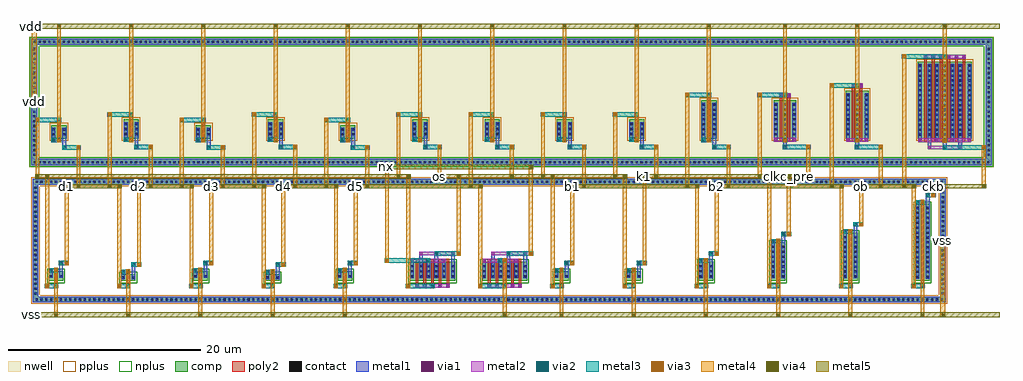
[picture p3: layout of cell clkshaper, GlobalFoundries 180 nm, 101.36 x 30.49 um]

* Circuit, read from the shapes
.subckt clkshaper b1 b2 ckb clk640 clkc_pre d1 d2 d3 d4 d5 k1 nx ob os vdd vss
XM1 d1 clk640 vss vss nfet_03v3 w=1u l=0.28u
XM2 d2 d1 vss vss nfet_03v3 w=0.7u l=0.28u
XM3 d3 d2 vss vss nfet_03v3 w=1u l=0.28u
XM4 d4 d3 vss vss nfet_03v3 w=0.7u l=0.28u
XM5 d5 d4 vss vss nfet_03v3 w=1u l=0.28u
XM6 os clk640 nx vss nfet_03v3 w=2u l=0.28u m=5
XM7 nx d5 vss vss nfet_03v3 w=2u l=0.28u m=5
XM8 b1 os vss vss nfet_03v3 w=1u l=0.28u
XM9 k1 os vss vss nfet_03v3 w=1u l=0.28u
XM10 b2 b1 vss vss nfet_03v3 w=2u l=0.28u
XM11 clkc_pre k1 vss vss nfet_03v3 w=4u l=0.28u
XM12 ob b2 vss vss nfet_03v3 w=5u l=0.28u
XM13 ckb ob vss vss nfet_03v3 w=8u l=0.28u
XM14 d1 clk640 vdd vdd pfet_03v3 w=1.4u l=0.28u
XM15 d2 d1 vdd vdd pfet_03v3 w=2u l=0.28u
XM16 d3 d2 vdd vdd pfet_03v3 w=1.4u l=0.28u
XM17 d4 d3 vdd vdd pfet_03v3 w=2u l=0.28u
XM18 d5 d4 vdd vdd pfet_03v3 w=1.4u l=0.28u
XM19 os clk640 vdd vdd pfet_03v3 w=2u l=0.28u
XM20 os d5 vdd vdd pfet_03v3 w=2u l=0.28u
XM21 b1 os vdd vdd pfet_03v3 w=2u l=0.28u
XM22 k1 os vdd vdd pfet_03v3 w=2u l=0.28u
XM23 b2 b1 vdd vdd pfet_03v3 w=4u l=0.28u
XM24 clkc_pre k1 vdd vdd pfet_03v3 w=4u l=0.28u m=2
XM25 ob b2 vdd vdd pfet_03v3 w=5u l=0.28u m=2
XM26 ckb ob vdd vdd pfet_03v3 w=8u l=0.28u m=6
.ends

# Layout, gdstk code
import gdstk
lib = gdstk.Library(unit=1e-6, precision=1e-09)
def R(c, l, rs):  # rectangles x0, y0, x1, y1
    for r in rs: c.add(gdstk.rectangle(r[:2], r[2:], *l))
def A(c, l, x, y, w, h, nx, ny, dx, dy):  # array of equal rectangles
    R(c, l, [(x+i*dx, y+j*dy, x+i*dx+w, y+j*dy+h) for i in range(nx) for j in range(ny)])
nwell = (21, 0)
comp = (22, 0)
poly2 = (30, 0)
pplus = (31, 0)
nplus = (32, 0)
contact = (33, 0)
metal1 = (34, 0)
via1 = (35, 0)
metal2 = (36, 0)
via2 = (38, 0)
via3 = (40, 0)
via4 = (41, 0)
metal3 = (42, 0)
metal4 = (46, 0)
metal5 = (81, 0)

clkshaper = lib.new_cell('clkshaper')
A(clkshaper, nwell, 2, 18.5, 2.46, 2.28, 3, 1, 15, 0)
A(clkshaper, nwell, 9.5, 18.5, 2.46, 2.88, 3, 1, 15, 0)
A(clkshaper, nwell, 47, 18.5, 2.46, 2.88, 3, 1, 7.5, 0)
R(clkshaper, nwell, [(0.15,15.98,100.31,29.53), (69.5,18.5,71.96,23.38), (77,18.5,80.26,23.38), (84.5,18.5,87.76,24.38), (92,18.5,98.46,27.38)])
A(clkshaper, comp, 2.59, 4.17, 0.66, 1, 3, 1, 15, 0)
A(clkshaper, comp, 2.9, 18.94, 0.66, 1.4, 3, 1, 15, 0)
A(clkshaper, comp, 10.4, 18.94, 0.66, 2, 3, 1, 15, 0)
A(clkshaper, comp, 47.9, 18.94, 0.66, 2, 3, 1, 7.5, 0)
R(clkshaper, comp, [(0.5,1.94,95.34,2.54), (0.5,2.54,1.1,14.18), (94.74,2.54,95.34,14.18), (2.17,4.17,2.59,5.17), (3.25,4.17,3.67,5.17), (9.67,4.17,10.09,4.87), (10.09,4.17,10.75,4.87), (10.75,4.17,11.17,4.87), (17.17,4.17,17.59,5.17), (18.25,4.17,18.67,5.17), (24.67,4.17,25.09,4.87), (25.09,4.17,25.75,4.87), (25.75,4.17,26.17,4.87), (32.17,4.17,32.59,5.17), (33.25,4.17,33.67,5.17), (39.67,4.17,40.09,6.17), (40.09,4.17,43.95,6.17), (43.95,4.17,44.37,6.17), (47.17,4.17,47.59,6.17), (47.59,4.17,51.45,6.17), (51.45,4.17,51.87,6.17), (54.67,4.17,55.09,5.17), (55.09,4.17,55.75,5.17), (55.75,4.17,56.17,5.17), (62.17,4.17,62.59,5.17), (62.59,4.17,63.25,5.17), (63.25,4.17,63.67,5.17), (69.67,4.17,70.09,6.17), (70.09,4.17,70.75,6.17), (70.75,4.17,71.17,6.17), (77.17,4.17,77.59,8.17), (77.59,4.17,78.25,8.17), (78.25,4.17,78.67,8.17), (84.67,4.17,85.09,9.17), (85.09,4.17,85.75,9.17), (85.75,4.17,86.17,9.17), (92.17,4.17,92.59,12.17), (92.59,4.17,93.25,12.17), (93.25,4.17,93.67,12.17), (0.5,14.18,95.34,14.78), (0.35,16.18,100.11,16.83), (0.35,16.83,1,28.68), (99.46,16.83,100.11,28.68), (2.44,18.94,2.9,20.34), (3.56,18.94,4.02,20.34), (9.94,18.94,10.4,20.94), (11.06,18.94,11.52,20.94), (17.44,18.94,17.9,20.34), (18.56,18.94,19.02,20.34), (24.94,18.94,25.4,20.94), (26.06,18.94,26.52,20.94), (32.44,18.94,32.9,20.34), (33.56,18.94,34.02,20.34), (39.94,18.94,40.4,20.94), (41.06,18.94,41.52,20.94), (47.44,18.94,47.9,20.94), (48.56,18.94,49.02,20.94), (54.94,18.94,55.4,20.94), (56.06,18.94,56.52,20.94), (62.44,18.94,62.9,20.94), (63.56,18.94,64.02,20.94), (69.94,18.94,70.4,22.94), (70.4,18.94,71.06,22.94), (71.06,18.94,71.52,22.94), (77.44,18.94,77.9,22.94), (77.9,18.94,79.36,22.94), (79.36,18.94,79.82,22.94), (84.94,18.94,85.4,23.94), (85.4,18.94,86.86,23.94), (86.86,18.94,87.32,23.94), (92.44,18.94,92.9,26.94), (92.9,18.94,97.56,26.94), (97.56,18.94,98.02,26.94), (0.35,28.68,100.11,29.33)])
A(clkshaper, poly2, 2.74, 3.51, 0.36, 0.36, 6, 1, 7.5, 0)
A(clkshaper, poly2, 41.04, 3.51, 0.36, 0.36, 4, 1, 0.8, 0)
A(clkshaper, poly2, 47.74, 3.51, 0.36, 0.36, 5, 1, 0.8, 0)
A(clkshaper, poly2, 55.24, 3.51, 0.36, 0.36, 6, 1, 7.5, 0)
A(clkshaper, poly2, 2.78, 3.87, 0.28, 1.6, 3, 1, 15, 0)
A(clkshaper, poly2, 40.28, 3.87, 0.28, 2.6, 5, 1, 0.8, 0)
A(clkshaper, poly2, 47.78, 3.87, 0.28, 2.6, 5, 1, 0.8, 0)
A(clkshaper, poly2, 3.09, 18.64, 0.28, 2, 3, 1, 15, 0)
A(clkshaper, poly2, 10.59, 18.64, 0.28, 2.6, 3, 1, 15, 0)
A(clkshaper, poly2, 48.09, 18.64, 0.28, 2.6, 3, 1, 7.5, 0)
A(clkshaper, poly2, 93.09, 18.64, 0.28, 8.6, 6, 1, 0.8, 0)
A(clkshaper, poly2, 3.04, 20.64, 0.38, 0.38, 3, 1, 15, 0)
A(clkshaper, poly2, 10.54, 21.24, 0.38, 0.38, 3, 1, 15, 0)
A(clkshaper, poly2, 48.04, 21.24, 0.38, 0.38, 3, 1, 7.5, 0)
A(clkshaper, poly2, 93.04, 27.24, 0.38, 0.38, 6, 1, 0.8, 0)
R(clkshaper, poly2, [(10.28,3.87,10.56,5.17), (25.28,3.87,25.56,5.17), (55.28,3.87,55.56,5.47), (62.78,3.87,63.06,5.47), (70.28,3.87,70.56,6.47), (77.78,3.87,78.06,8.47), (85.28,3.87,85.56,9.47), (92.78,3.87,93.06,12.47), (70.59,18.64,70.87,23.24), (78.09,18.64,78.37,23.24), (78.89,18.64,79.17,23.24), (85.59,18.64,85.87,24.24), (86.39,18.64,86.67,24.24), (70.54,23.24,70.92,23.62), (78.04,23.24,78.42,23.62), (78.84,23.24,79.22,23.62), (85.54,24.24,85.92,24.62), (86.34,24.24,86.72,24.62)])
A(clkshaper, pplus, 2.27, 18.7, 1.92, 1.88, 3, 1, 15, 0)
A(clkshaper, pplus, 9.77, 18.7, 1.92, 2.48, 3, 1, 15, 0)
A(clkshaper, pplus, 47.27, 18.7, 1.92, 2.48, 3, 1, 7.5, 0)
R(clkshaper, pplus, [(0.34,1.78,95.5,2.7), (0.34,2.38,1.26,14.34), (94.58,2.38,95.5,14.34), (0.34,14.02,95.5,14.94), (69.77,18.7,71.69,23.18), (77.27,18.7,79.99,23.18), (84.77,18.7,87.49,24.18), (92.27,18.7,98.19,27.18)])
A(clkshaper, nplus, 2, 3.93, 1.84, 1.48, 3, 1, 15, 0)
R(clkshaper, nplus, [(9.5,3.93,11.34,5.11), (24.5,3.93,26.34,5.11), (39.5,3.93,44.54,6.41), (47,3.93,52.04,6.41), (54.5,3.93,56.34,5.41), (62,3.93,63.84,5.41), (69.5,3.93,71.34,6.41), (77,3.93,78.84,8.41), (84.5,3.93,86.34,9.41), (92,3.93,93.84,12.41), (0.19,16.02,100.27,16.99), (0.19,16.67,1.16,28.84), (99.3,16.67,100.27,28.84), (0.19,28.52,100.27,29.49)])
A(clkshaper, contact, 0.81, 2.13, 0.22, 0.22, 189, 2, 0.5, 12.24)
A(clkshaper, contact, 0.69, 2.75, 0.22, 0.22, 1, 23, 0, 0.5)
A(clkshaper, contact, 94.93, 2.75, 0.22, 0.22, 1, 23, 0, 0.5)
A(clkshaper, contact, 2.81, 3.58, 0.22, 0.22, 6, 1, 7.5, 0)
A(clkshaper, contact, 41.11, 3.58, 0.22, 0.22, 4, 1, 0.8, 0)
A(clkshaper, contact, 47.81, 3.58, 0.22, 0.22, 5, 1, 0.8, 0)
A(clkshaper, contact, 55.31, 3.58, 0.22, 0.22, 6, 1, 7.5, 0)
A(clkshaper, contact, 92.27, 4.49, 0.22, 0.22, 1, 15, 0, 0.51)
A(clkshaper, contact, 93.35, 4.49, 0.22, 0.22, 1, 15, 0, 0.51)
A(clkshaper, contact, 84.77, 4.52, 0.22, 0.22, 1, 9, 0, 0.51)
A(clkshaper, contact, 85.85, 4.52, 0.22, 0.22, 1, 9, 0, 0.51)
A(clkshaper, contact, 77.27, 4.53, 0.22, 0.22, 1, 7, 0, 0.51)
A(clkshaper, contact, 78.35, 4.53, 0.22, 0.22, 1, 7, 0, 0.51)
A(clkshaper, contact, 39.77, 4.55, 0.22, 0.22, 1, 3, 0, 0.51)
A(clkshaper, contact, 40.71, 4.55, 0.22, 0.22, 4, 3, 0.8, 0.51)
A(clkshaper, contact, 44.05, 4.55, 0.22, 0.22, 1, 3, 0, 0.51)
A(clkshaper, contact, 47.27, 4.55, 0.22, 0.22, 1, 3, 0, 0.51)
A(clkshaper, contact, 48.21, 4.55, 0.22, 0.22, 4, 3, 0.8, 0.51)
A(clkshaper, contact, 51.55, 4.55, 0.22, 0.22, 1, 3, 0, 0.51)
A(clkshaper, contact, 69.77, 4.55, 0.22, 0.22, 1, 3, 0, 0.51)
A(clkshaper, contact, 70.85, 4.55, 0.22, 0.22, 1, 3, 0, 0.51)
A(clkshaper, contact, 0.62, 16.395, 0.22, 0.22, 199, 2, 0.5, 12.5)
A(clkshaper, contact, 0.565, 17.145, 0.22, 0.22, 1, 23, 0, 0.5)
A(clkshaper, contact, 99.675, 17.145, 0.22, 0.22, 1, 23, 0, 0.5)
A(clkshaper, contact, 92.56, 19.26, 0.22, 0.22, 1, 15, 0, 0.51)
A(clkshaper, contact, 93.52, 19.26, 0.22, 0.22, 5, 15, 0.8, 0.51)
A(clkshaper, contact, 97.68, 19.26, 0.22, 0.22, 1, 15, 0, 0.51)
A(clkshaper, contact, 85.06, 19.29, 0.22, 0.22, 3, 9, 0.96, 0.51)
A(clkshaper, contact, 70.06, 19.3, 0.22, 0.22, 1, 7, 0, 0.51)
A(clkshaper, contact, 71.18, 19.3, 0.22, 0.22, 1, 7, 0, 0.51)
A(clkshaper, contact, 77.56, 19.3, 0.22, 0.22, 3, 7, 0.96, 0.51)
A(clkshaper, contact, 10.06, 19.32, 0.22, 0.22, 1, 3, 0, 0.51)
A(clkshaper, contact, 11.18, 19.32, 0.22, 0.22, 1, 3, 0, 0.51)
A(clkshaper, contact, 25.06, 19.32, 0.22, 0.22, 1, 3, 0, 0.51)
A(clkshaper, contact, 26.18, 19.32, 0.22, 0.22, 1, 3, 0, 0.51)
A(clkshaper, contact, 40.06, 19.32, 0.22, 0.22, 1, 3, 0, 0.51)
A(clkshaper, contact, 41.18, 19.32, 0.22, 0.22, 1, 3, 0, 0.51)
A(clkshaper, contact, 47.56, 19.32, 0.22, 0.22, 1, 3, 0, 0.51)
A(clkshaper, contact, 48.68, 19.32, 0.22, 0.22, 1, 3, 0, 0.51)
A(clkshaper, contact, 55.06, 19.32, 0.22, 0.22, 1, 3, 0, 0.51)
A(clkshaper, contact, 56.18, 19.32, 0.22, 0.22, 1, 3, 0, 0.51)
A(clkshaper, contact, 62.56, 19.32, 0.22, 0.22, 1, 3, 0, 0.51)
A(clkshaper, contact, 63.68, 19.32, 0.22, 0.22, 1, 3, 0, 0.51)
A(clkshaper, contact, 3.12, 20.72, 0.22, 0.22, 3, 1, 15, 0)
A(clkshaper, contact, 10.62, 21.32, 0.22, 0.22, 3, 1, 15, 0)
A(clkshaper, contact, 48.12, 21.32, 0.22, 0.22, 3, 1, 7.5, 0)
A(clkshaper, contact, 93.12, 27.32, 0.22, 0.22, 6, 1, 0.8, 0)
R(clkshaper, contact, [(9.77,4.41,9.99,4.63), (10.85,4.41,11.07,4.63), (24.77,4.41,24.99,4.63), (25.85,4.41,26.07,4.63), (2.27,4.56,2.49,4.78), (3.35,4.56,3.57,4.78), (17.27,4.56,17.49,4.78), (18.35,4.56,18.57,4.78), (32.27,4.56,32.49,4.78), (33.35,4.56,33.57,4.78), (54.77,4.56,54.99,4.78), (55.85,4.56,56.07,4.78), (62.27,4.56,62.49,4.78), (63.35,4.56,63.57,4.78), (2.56,19.275,2.78,19.495), (3.68,19.275,3.9,19.495), (17.56,19.275,17.78,19.495), (18.68,19.275,18.9,19.495), (32.56,19.275,32.78,19.495), (33.68,19.275,33.9,19.495), (2.56,19.785,2.78,20.005), (3.68,19.785,3.9,20.005), (17.56,19.785,17.78,20.005), (18.68,19.785,18.9,20.005), (32.56,19.785,32.78,20.005), (33.68,19.785,33.9,20.005), (70.62,23.32,70.84,23.54), (78.12,23.32,78.34,23.54), (78.92,23.32,79.14,23.54), (85.62,24.32,85.84,24.54), (86.42,24.32,86.64,24.54)])
A(clkshaper, metal1, 2.73, 3.5, 0.38, 0.38, 6, 1, 7.5, 0)
A(clkshaper, metal1, 41.03, 3.5, 0.38, 0.38, 4, 1, 0.8, 0)
A(clkshaper, metal1, 47.73, 3.5, 0.38, 0.38, 5, 1, 0.8, 0)
A(clkshaper, metal1, 55.23, 3.5, 0.38, 0.38, 6, 1, 7.5, 0)
A(clkshaper, metal1, 40.63, 4.47, 0.38, 1.4, 4, 1, 0.8, 0)
A(clkshaper, metal1, 48.13, 4.47, 0.38, 1.4, 4, 1, 0.8, 0)
A(clkshaper, metal1, 2.19, 4.81, 0.38, 0.65, 3, 1, 15, 0)
A(clkshaper, metal1, 3.27, 4.81, 0.38, 1.4, 3, 1, 15, 0)
A(clkshaper, metal1, 93.44, 17.83, 0.38, 1.4, 3, 1, 1.6, 0)
A(clkshaper, metal1, 3.6, 17.845, 0.38, 1.4, 3, 1, 15, 0)
A(clkshaper, metal1, 11.1, 17.89, 0.38, 1.4, 3, 1, 15, 0)
A(clkshaper, metal1, 48.6, 17.89, 0.38, 1.4, 3, 1, 7.5, 0)
A(clkshaper, metal1, 2.48, 18.595, 0.38, 0.65, 3, 1, 15, 0)
A(clkshaper, metal1, 9.98, 18.64, 0.38, 0.65, 3, 1, 15, 0)
A(clkshaper, metal1, 47.48, 18.64, 0.38, 0.65, 3, 1, 7.5, 0)
A(clkshaper, metal1, 93.44, 19.18, 0.38, 7.52, 5, 1, 0.8, 0)
A(clkshaper, metal1, 84.98, 19.21, 0.38, 4.46, 3, 1, 0.96, 0)
A(clkshaper, metal1, 77.48, 19.22, 0.38, 3.44, 3, 1, 0.96, 0)
A(clkshaper, metal1, 3.04, 20.64, 0.38, 0.38, 3, 1, 15, 0)
A(clkshaper, metal1, 10.54, 21.24, 0.38, 0.38, 3, 1, 15, 0)
A(clkshaper, metal1, 48.04, 21.24, 0.38, 0.38, 3, 1, 7.5, 0)
A(clkshaper, metal1, 93.04, 27.24, 0.38, 0.38, 6, 1, 0.8, 0)
R(clkshaper, metal1, [(0.5,1.94,95.34,2.54), (0.5,2.54,1.1,14.18), (94.74,2.54,95.34,14.18), (9.69,4.33,10.07,4.71), (10.77,4.33,11.15,4.71), (24.69,4.33,25.07,4.71), (25.77,4.33,26.15,4.71), (92.19,4.41,92.57,11.93), (93.27,4.41,93.65,11.93), (84.69,4.44,85.07,8.9), (85.77,4.44,86.15,8.9), (77.19,4.45,77.57,7.89), (78.27,4.45,78.65,7.89), (39.69,4.47,40.07,5.87), (43.97,4.47,44.35,5.87), (47.19,4.47,47.57,5.87), (51.47,4.47,51.85,5.87), (69.69,4.47,70.07,5.87), (70.77,4.47,71.15,5.87), (2.19,4.48,2.57,4.86), (3.27,4.48,3.65,4.86), (17.19,4.48,17.57,4.86), (18.27,4.48,18.65,4.86), (32.19,4.48,32.57,4.86), (33.27,4.48,33.65,4.86), (54.69,4.48,55.07,4.86), (55.77,4.48,56.15,4.86), (62.19,4.48,62.57,4.86), (63.27,4.48,63.65,4.86), (9.69,4.66,10.07,5.31), (10.77,4.66,11.15,6.06), (24.69,4.66,25.07,5.31), (25.77,4.66,26.15,6.06), (54.69,4.81,55.07,5.46), (55.77,4.81,56.15,6.21), (62.19,4.81,62.57,5.46), (63.27,4.81,63.65,6.21), (39.69,5.82,40.07,6.47), (40.63,5.82,41.01,7.22), (41.43,5.82,41.81,6.47), (42.23,5.82,42.61,7.22), (43.03,5.82,43.41,6.47), (43.97,5.82,44.35,7.22), (47.19,5.82,47.57,6.47), (48.13,5.82,48.51,7.22), (48.93,5.82,49.31,6.47), (49.73,5.82,50.11,7.22), (50.53,5.82,50.91,6.47), (51.47,5.82,51.85,7.22), (69.69,5.82,70.07,6.47), (70.77,5.82,71.15,7.22), (77.19,7.84,77.57,8.49), (78.27,7.84,78.65,9.24), (94.77,8.11,95.27,8.61), (94.77,8.11,95.27,8.61), (84.69,8.85,85.07,9.5), (85.77,8.85,86.15,10.25), (92.19,11.88,92.57,12.53), (93.27,11.88,93.65,13.28), (0.5,14.18,95.34,14.78), (0.35,16.18,100.11,16.83), (0.35,16.83,1,28.68), (99.46,16.83,100.11,28.68), (85.94,17.86,86.32,19.26), (71.1,17.87,71.48,19.27), (78.44,17.87,78.82,19.27), (92.48,18.58,92.86,19.23), (94.24,18.58,94.62,19.23), (95.84,18.58,96.22,19.23), (97.6,18.58,97.98,19.23), (84.98,18.61,85.36,19.26), (86.9,18.61,87.28,19.26), (69.98,18.62,70.36,19.27), (77.48,18.62,77.86,19.27), (79.4,18.62,79.78,19.27), (92.48,19.18,92.86,26.7), (97.6,19.18,97.98,26.7), (2.48,19.195,2.86,20.085), (3.6,19.195,3.98,20.085), (17.48,19.195,17.86,20.085), (18.6,19.195,18.98,20.085), (32.48,19.195,32.86,20.085), (33.6,19.195,33.98,20.085), (69.98,19.22,70.36,22.66), (71.1,19.22,71.48,22.66), (9.98,19.24,10.36,20.64), (11.1,19.24,11.48,20.64), (24.98,19.24,25.36,20.64), (26.1,19.24,26.48,20.64), (39.98,19.24,40.36,20.64), (41.1,19.24,41.48,20.64), (47.48,19.24,47.86,20.64), (48.6,19.24,48.98,20.64), (54.98,19.24,55.36,20.64), (56.1,19.24,56.48,20.64), (62.48,19.24,62.86,20.64), (63.6,19.24,63.98,20.64), (0.42,22.505,0.92,23.005), (0.42,22.505,0.92,23.005), (70.54,23.24,70.92,23.62), (78.04,23.24,78.42,23.62), (78.84,23.24,79.22,23.62), (85.54,24.24,85.92,24.62), (86.34,24.24,86.72,24.62), (0.35,28.68,100.11,29.33)])
A(clkshaper, via1, 2.79, 3.56, 0.26, 0.26, 6, 1, 7.5, 0)
A(clkshaper, via1, 41.09, 3.56, 0.26, 0.26, 4, 1, 0.8, 0)
A(clkshaper, via1, 47.79, 3.56, 0.26, 0.26, 5, 1, 0.8, 0)
A(clkshaper, via1, 55.29, 3.56, 0.26, 0.26, 6, 1, 7.5, 0)
A(clkshaper, via1, 2.25, 5.13, 0.26, 0.26, 3, 1, 15, 0)
A(clkshaper, via1, 3.33, 5.88, 0.26, 0.26, 3, 1, 15, 0)
A(clkshaper, via1, 93.5, 17.9, 0.26, 0.26, 3, 1, 1.6, 0)
A(clkshaper, via1, 3.66, 17.915, 0.26, 0.26, 3, 1, 15, 0)
A(clkshaper, via1, 11.16, 17.96, 0.26, 0.26, 3, 1, 15, 0)
A(clkshaper, via1, 48.66, 17.96, 0.26, 0.26, 3, 1, 7.5, 0)
A(clkshaper, via1, 2.54, 18.665, 0.26, 0.26, 3, 1, 15, 0)
A(clkshaper, via1, 10.04, 18.71, 0.26, 0.26, 3, 1, 15, 0)
A(clkshaper, via1, 47.54, 18.71, 0.26, 0.26, 3, 1, 7.5, 0)
A(clkshaper, via1, 3.1, 20.7, 0.26, 0.26, 3, 1, 15, 0)
A(clkshaper, via1, 10.6, 21.3, 0.26, 0.26, 3, 1, 15, 0)
A(clkshaper, via1, 48.1, 21.3, 0.26, 0.26, 3, 1, 7.5, 0)
A(clkshaper, via1, 93.1, 27.3, 0.26, 0.26, 6, 1, 0.8, 0)
R(clkshaper, via1, [(9.75,4.98,10.01,5.24), (24.75,4.98,25.01,5.24), (54.75,5.13,55.01,5.39), (62.25,5.13,62.51,5.39), (10.83,5.73,11.09,5.99), (25.83,5.73,26.09,5.99), (55.83,5.88,56.09,6.14), (63.33,5.88,63.59,6.14), (39.75,6.14,40.01,6.4), (41.49,6.14,41.75,6.4), (43.09,6.14,43.35,6.4), (47.25,6.14,47.51,6.4), (48.99,6.14,49.25,6.4), (50.59,6.14,50.85,6.4), (69.75,6.14,70.01,6.4), (40.69,6.89,40.95,7.15), (42.29,6.89,42.55,7.15), (44.03,6.89,44.29,7.15), (48.19,6.89,48.45,7.15), (49.79,6.89,50.05,7.15), (51.53,6.89,51.79,7.15), (70.83,6.89,71.09,7.15), (77.25,8.16,77.51,8.42), (94.89,8.23,95.15,8.49), (78.33,8.91,78.59,9.17), (84.75,9.17,85.01,9.43), (85.83,9.92,86.09,10.18), (92.25,12.2,92.51,12.46), (93.33,12.95,93.59,13.21), (86,17.93,86.26,18.19), (71.16,17.94,71.42,18.2), (78.5,17.94,78.76,18.2), (92.54,18.65,92.8,18.91), (94.3,18.65,94.56,18.91), (95.9,18.65,96.16,18.91), (97.66,18.65,97.92,18.91), (85.04,18.68,85.3,18.94), (86.96,18.68,87.22,18.94), (70.04,18.69,70.3,18.95), (77.54,18.69,77.8,18.95), (79.46,18.69,79.72,18.95), (0.54,22.625,0.8,22.885), (70.6,23.3,70.86,23.56), (78.1,23.3,78.36,23.56), (78.9,23.3,79.16,23.56), (85.6,24.3,85.86,24.56), (86.4,24.3,86.66,24.56)])
A(clkshaper, metal2, 2.69, 3.43, 0.46, 0.46, 5, 1, 7.5, 0)
A(clkshaper, metal2, 55.19, 3.43, 0.46, 0.46, 6, 1, 7.5, 0)
A(clkshaper, metal2, 2.73, 3.44, 0.38, 0.44, 5, 1, 7.5, 0)
A(clkshaper, metal2, 55.23, 3.44, 0.38, 0.44, 6, 1, 7.5, 0)
A(clkshaper, metal2, 2.15, 5.03, 0.46, 0.46, 3, 1, 15, 0)
A(clkshaper, metal2, 2.19, 5.06, 0.38, 0.4, 3, 1, 15, 0)
A(clkshaper, metal2, 3.23, 5.78, 0.46, 0.46, 3, 1, 15, 0)
A(clkshaper, metal2, 3.27, 5.81, 0.38, 0.4, 3, 1, 15, 0)
A(clkshaper, metal2, 3.56, 17.815, 0.46, 0.46, 3, 1, 15, 0)
A(clkshaper, metal2, 3.6, 17.845, 0.38, 0.4, 3, 1, 15, 0)
A(clkshaper, metal2, 11.06, 17.86, 0.46, 0.46, 3, 1, 15, 0)
A(clkshaper, metal2, 48.56, 17.86, 0.46, 0.46, 3, 1, 7.5, 0)
A(clkshaper, metal2, 11.1, 17.89, 0.38, 0.4, 3, 1, 15, 0)
A(clkshaper, metal2, 48.6, 17.89, 0.38, 0.4, 3, 1, 7.5, 0)
A(clkshaper, metal2, 2.44, 18.565, 0.46, 0.46, 3, 1, 15, 0)
A(clkshaper, metal2, 2.48, 18.595, 0.38, 0.4, 3, 1, 15, 0)
A(clkshaper, metal2, 9.94, 18.61, 0.46, 0.46, 3, 1, 15, 0)
A(clkshaper, metal2, 47.44, 18.61, 0.46, 0.46, 3, 1, 7.5, 0)
A(clkshaper, metal2, 9.98, 18.64, 0.38, 0.4, 3, 1, 15, 0)
A(clkshaper, metal2, 47.48, 18.64, 0.38, 0.4, 3, 1, 7.5, 0)
A(clkshaper, metal2, 3, 20.63, 0.46, 0.46, 3, 1, 15, 0)
A(clkshaper, metal2, 3.04, 20.64, 0.38, 0.44, 3, 1, 15, 0)
A(clkshaper, metal2, 10.5, 21.23, 0.46, 0.46, 3, 1, 15, 0)
A(clkshaper, metal2, 48, 21.23, 0.46, 0.46, 3, 1, 7.5, 0)
A(clkshaper, metal2, 10.54, 21.24, 0.38, 0.44, 3, 1, 15, 0)
A(clkshaper, metal2, 48.04, 21.24, 0.38, 0.44, 3, 1, 7.5, 0)
R(clkshaper, metal2, [(41.79,3.43,42.25,3.89), (49.29,3.43,49.75,3.89), (40.23,3.44,43.81,3.88), (47.73,3.44,51.31,3.88), (9.65,4.88,10.11,5.34), (24.65,4.88,25.11,5.34), (9.69,4.91,10.07,5.31), (24.69,4.91,25.07,5.31), (54.65,5.03,55.11,5.49), (62.15,5.03,62.61,5.49), (54.69,5.06,55.07,5.46), (62.19,5.06,62.57,5.46), (10.73,5.63,11.19,6.09), (25.73,5.63,26.19,6.09), (10.77,5.66,11.15,6.06), (25.77,5.66,26.15,6.06), (55.73,5.78,56.19,6.24), (63.23,5.78,63.69,6.24), (55.77,5.81,56.15,6.21), (63.27,5.81,63.65,6.21), (41.32,6.04,41.78,6.5), (48.82,6.04,49.28,6.5), (69.65,6.04,70.11,6.5), (39.69,6.07,43.41,6.47), (47.19,6.07,50.91,6.47), (69.69,6.07,70.07,6.47), (42.26,6.79,42.72,7.25), (49.76,6.79,50.22,7.25), (70.73,6.79,71.19,7.25), (40.63,6.82,44.35,7.22), (48.13,6.82,51.85,7.22), (70.77,6.82,71.15,7.22), (77.15,8.06,77.61,8.52), (77.19,8.09,77.57,8.49), (94.77,8.11,95.27,8.61), (78.23,8.81,78.69,9.27), (78.27,8.84,78.65,9.24), (84.65,9.07,85.11,9.53), (84.69,9.1,85.07,9.5), (85.73,9.82,86.19,10.28), (85.77,9.85,86.15,10.25), (92.15,12.1,92.61,12.56), (92.19,12.13,92.57,12.53), (93.23,12.85,93.69,13.31), (93.27,12.88,93.65,13.28), (95,17.8,95.46,18.26), (85.9,17.83,86.36,18.29), (93.44,17.83,97.02,18.23), (71.06,17.84,71.52,18.3), (78.4,17.84,78.86,18.3), (85.94,17.86,86.32,18.26), (71.1,17.87,71.48,18.27), (78.44,17.87,78.82,18.27), (95,18.55,95.46,19.01), (85.9,18.58,86.36,19.04), (92.48,18.58,97.98,18.98), (69.94,18.59,70.4,19.05), (78.4,18.59,78.86,19.05), (84.98,18.61,87.28,19.01), (69.98,18.62,70.36,19.02), (77.48,18.62,79.78,19.02), (0.42,22.505,0.92,23.005), (70.5,23.23,70.96,23.69), (78.4,23.23,78.86,23.69), (70.54,23.24,70.92,23.68), (78.04,23.24,79.22,23.68), (85.9,24.23,86.36,24.69), (85.54,24.24,86.72,24.68), (95,27.23,95.46,27.69), (93.04,27.24,97.42,27.68)])
A(clkshaper, via2, 2.79, 3.53, 0.26, 0.26, 5, 1, 7.5, 0)
A(clkshaper, via2, 55.29, 3.53, 0.26, 0.26, 6, 1, 7.5, 0)
A(clkshaper, via2, 2.25, 5.13, 0.26, 0.26, 3, 1, 15, 0)
A(clkshaper, via2, 3.33, 5.88, 0.26, 0.26, 3, 1, 15, 0)
A(clkshaper, via2, 3.66, 17.915, 0.26, 0.26, 3, 1, 15, 0)
A(clkshaper, via2, 11.16, 17.96, 0.26, 0.26, 3, 1, 15, 0)
A(clkshaper, via2, 48.66, 17.96, 0.26, 0.26, 3, 1, 7.5, 0)
A(clkshaper, via2, 2.54, 18.665, 0.26, 0.26, 3, 1, 15, 0)
A(clkshaper, via2, 10.04, 18.71, 0.26, 0.26, 3, 1, 15, 0)
A(clkshaper, via2, 47.54, 18.71, 0.26, 0.26, 3, 1, 7.5, 0)
A(clkshaper, via2, 3.1, 20.73, 0.26, 0.26, 3, 1, 15, 0)
A(clkshaper, via2, 10.6, 21.33, 0.26, 0.26, 3, 1, 15, 0)
A(clkshaper, via2, 48.1, 21.33, 0.26, 0.26, 3, 1, 7.5, 0)
R(clkshaper, via2, [(41.89,3.53,42.15,3.79), (49.39,3.53,49.65,3.79), (9.75,4.98,10.01,5.24), (24.75,4.98,25.01,5.24), (54.75,5.13,55.01,5.39), (62.25,5.13,62.51,5.39), (10.83,5.73,11.09,5.99), (25.83,5.73,26.09,5.99), (55.83,5.88,56.09,6.14), (63.33,5.88,63.59,6.14), (41.42,6.14,41.68,6.4), (48.92,6.14,49.18,6.4), (69.75,6.14,70.01,6.4), (42.36,6.89,42.62,7.15), (49.86,6.89,50.12,7.15), (70.83,6.89,71.09,7.15), (77.25,8.16,77.51,8.42), (94.89,8.23,95.15,8.49), (78.33,8.91,78.59,9.17), (84.75,9.17,85.01,9.43), (85.83,9.92,86.09,10.18), (92.25,12.2,92.51,12.46), (93.33,12.95,93.59,13.21), (95.1,17.9,95.36,18.16), (86,17.93,86.26,18.19), (71.16,17.94,71.42,18.2), (78.5,17.94,78.76,18.2), (95.1,18.65,95.36,18.91), (86,18.68,86.26,18.94), (70.04,18.69,70.3,18.95), (78.5,18.69,78.76,18.95), (0.54,22.625,0.8,22.885), (70.6,23.33,70.86,23.59), (78.5,23.33,78.76,23.59), (86,24.33,86.26,24.59), (95.1,27.33,95.36,27.59)])
A(clkshaper, via3, 1.87, 3.53, 0.26, 0.26, 13, 1, 7.5, 0)
A(clkshaper, via3, 2.79, 5.13, 0.26, 0.26, 3, 1, 15, 0)
A(clkshaper, via3, 3.91, 5.88, 0.26, 0.26, 3, 1, 15, 0)
A(clkshaper, via3, 5.13, 17.915, 0.26, 0.26, 3, 1, 15, 0)
A(clkshaper, via3, 12.63, 17.96, 0.26, 0.26, 3, 1, 15, 0)
A(clkshaper, via3, 50.13, 17.96, 0.26, 0.26, 3, 1, 7.5, 0)
A(clkshaper, via3, 3.1, 18.665, 0.26, 0.26, 3, 1, 15, 0)
A(clkshaper, via3, 10.6, 18.71, 0.26, 0.26, 3, 1, 15, 0)
A(clkshaper, via3, 48.1, 18.71, 0.26, 0.26, 3, 1, 7.5, 0)
A(clkshaper, via3, 0.87, 20.73, 0.26, 0.26, 3, 1, 15, 0)
A(clkshaper, via3, 8.37, 21.33, 0.26, 0.26, 3, 1, 15, 0)
A(clkshaper, via3, 45.87, 21.33, 0.26, 0.26, 3, 1, 7.5, 0)
R(clkshaper, via3, [(10.29,4.98,10.55,5.24), (25.29,4.98,25.55,5.24), (55.29,5.13,55.55,5.39), (62.79,5.13,63.05,5.39), (11.41,5.73,11.67,5.99), (26.41,5.73,26.67,5.99), (56.41,5.88,56.67,6.14), (63.91,5.88,64.17,6.14), (37.17,6.14,37.43,6.4), (49.39,6.14,49.65,6.4), (70.29,6.14,70.55,6.4), (44.61,6.89,44.87,7.15), (52.11,6.89,52.37,7.15), (71.41,6.89,71.67,7.15), (77.79,8.16,78.05,8.42), (94.89,8.23,95.15,8.49), (78.91,8.91,79.17,9.17), (85.29,9.17,85.55,9.43), (86.41,9.92,86.67,10.18), (92.79,12.2,93.05,12.46), (93.91,12.95,94.17,13.21), (99.13,17.9,99.39,18.16), (88.43,17.93,88.69,18.19), (72.63,17.94,72.89,18.2), (80.93,17.94,81.19,18.2), (95.1,18.65,95.36,18.91), (86,18.68,86.26,18.94), (70.6,18.69,70.86,18.95), (78.5,18.69,78.76,18.95), (0.54,22.625,0.8,22.885), (68.37,23.33,68.63,23.59), (75.87,23.33,76.13,23.59), (83.37,24.33,83.63,24.59), (90.87,27.33,91.13,27.59)])
A(clkshaper, via4, 2.79, 0.51, 0.26, 0.26, 5, 1, 7.5, 0)
A(clkshaper, via4, 55.29, 0.51, 0.26, 0.26, 6, 1, 7.5, 0)
A(clkshaper, via4, 3.1, 30.5, 0.26, 0.26, 10, 1, 7.5, 0)
R(clkshaper, via4, [(49.39,0.51,49.65,0.77), (94.89,0.51,95.15,0.77), (3.91,13.87,4.17,14.13), (5.13,13.87,5.39,14.13), (8.37,13.87,8.63,14.13), (9.37,13.87,9.63,14.13), (11.41,13.87,11.67,14.13), (12.63,13.87,12.89,14.13), (15.87,13.87,16.13,14.13), (16.87,13.87,17.13,14.13), (18.91,13.87,19.17,14.13), (20.13,13.87,20.39,14.13), (23.37,13.87,23.63,14.13), (24.37,13.87,24.63,14.13), (26.41,13.87,26.67,14.13), (27.63,13.87,27.89,14.13), (30.87,13.87,31.13,14.13), (31.87,13.87,32.13,14.13), (33.91,13.87,34.17,14.13), (35.13,13.87,35.39,14.13), (45.87,13.87,46.13,14.13), (46.87,13.87,47.13,14.13), (56.41,13.87,56.67,14.13), (57.63,13.87,57.89,14.13), (68.37,13.87,68.63,14.13), (69.37,13.87,69.63,14.13), (71.41,13.87,71.67,14.13), (72.63,13.87,72.89,14.13), (83.37,13.87,83.63,14.13), (84.37,13.87,84.63,14.13), (86.41,13.87,86.67,14.13), (88.43,13.87,88.69,14.13), (90.87,13.87,91.13,14.13), (91.87,13.87,92.13,14.13), (93.91,13.87,94.17,14.13), (99.13,13.87,99.39,14.13), (0.87,14.87,1.13,15.13), (1.87,14.87,2.13,15.13), (38.37,14.87,38.63,15.13), (39.37,14.87,39.63,15.13), (42.63,14.87,42.89,15.13), (44.61,14.87,44.87,15.13), (50.13,14.87,50.39,15.13), (53.37,14.87,53.63,15.13), (54.37,14.87,54.63,15.13), (60.87,14.87,61.13,15.13), (61.87,14.87,62.13,15.13), (63.91,14.87,64.17,15.13), (65.13,14.87,65.39,15.13), (75.87,14.87,76.13,15.13), (76.87,14.87,77.13,15.13), (78.91,14.87,79.17,15.13), (80.93,14.87,81.19,15.13), (37.17,15.87,37.43,16.13), (52.11,15.87,52.37,16.13), (0.54,30.5,0.8,30.76), (78.5,30.5,78.76,30.76), (86,30.5,86.26,30.76), (95.1,30.5,95.36,30.76)])
A(clkshaper, metal3, 1.77, 3.43, 1.38, 0.46, 5, 1, 7.5, 0)
A(clkshaper, metal3, 54.27, 3.43, 1.38, 0.46, 6, 1, 7.5, 0)
A(clkshaper, metal3, 2.15, 5.03, 1, 0.46, 3, 1, 15, 0)
A(clkshaper, metal3, 3.23, 5.78, 1.04, 0.46, 3, 1, 15, 0)
A(clkshaper, metal3, 3.56, 17.815, 1.93, 0.46, 3, 1, 15, 0)
A(clkshaper, metal3, 11.06, 17.86, 1.93, 0.46, 3, 1, 15, 0)
A(clkshaper, metal3, 48.56, 17.86, 1.93, 0.46, 3, 1, 7.5, 0)
A(clkshaper, metal3, 2.44, 18.565, 1.02, 0.46, 3, 1, 15, 0)
A(clkshaper, metal3, 9.94, 18.61, 1.02, 0.46, 3, 1, 15, 0)
A(clkshaper, metal3, 47.44, 18.61, 1.02, 0.46, 3, 1, 7.5, 0)
A(clkshaper, metal3, 0.77, 20.63, 2.69, 0.46, 3, 1, 15, 0)
A(clkshaper, metal3, 8.27, 21.23, 2.69, 0.46, 3, 1, 15, 0)
A(clkshaper, metal3, 45.77, 21.23, 2.69, 0.46, 3, 1, 7.5, 0)
R(clkshaper, metal3, [(39.27,3.43,42.25,3.89), (46.77,3.43,49.75,3.89), (9.65,4.88,10.65,5.34), (24.65,4.88,25.65,5.34), (54.65,5.03,55.65,5.49), (62.15,5.03,63.15,5.49), (10.73,5.63,11.77,6.09), (25.73,5.63,26.77,6.09), (55.73,5.78,56.77,6.24), (63.23,5.78,64.27,6.24), (37.07,6.04,41.78,6.5), (48.82,6.04,49.75,6.5), (69.65,6.04,70.65,6.5), (42.26,6.79,44.97,7.25), (49.76,6.79,52.47,7.25), (70.73,6.79,71.77,7.25), (77.15,8.06,78.15,8.52), (94.77,8.11,95.27,8.61), (78.23,8.81,79.27,9.27), (84.65,9.07,85.65,9.53), (85.73,9.82,86.77,10.28), (92.15,12.1,93.15,12.56), (93.23,12.85,94.27,13.31), (95,17.8,99.49,18.26), (85.9,17.83,88.79,18.29), (71.06,17.84,72.99,18.3), (78.4,17.84,81.29,18.3), (95,18.55,95.46,19.01), (85.9,18.58,86.36,19.04), (69.94,18.59,70.96,19.05), (78.4,18.59,78.86,19.05), (0.42,22.505,0.92,23.005), (68.27,23.23,70.96,23.69), (75.77,23.23,78.86,23.69), (83.27,24.23,86.36,24.69), (90.77,27.23,95.46,27.69)])
A(clkshaper, metal4, 2.72, 0.39, 0.4, 5.12, 3, 1, 15, 0)
A(clkshaper, metal4, 9.3, 3.43, 0.4, 10.8, 4, 1, 7.5, 0)
A(clkshaper, metal4, 3.84, 5.78, 0.4, 8.45, 3, 1, 15, 0)
A(clkshaper, metal4, 5.06, 13.77, 0.4, 4.505, 3, 1, 15, 0)
A(clkshaper, metal4, 3.03, 18.545, 0.4, 12.335, 3, 1, 15, 0)
A(clkshaper, metal4, 10.53, 18.59, 0.4, 12.29, 3, 1, 15, 0)
A(clkshaper, metal4, 48.03, 18.59, 0.4, 12.29, 3, 1, 7.5, 0)
R(clkshaper, metal4, [(10.22,0.39,10.62,5.36), (25.22,0.39,25.62,5.36), (49.32,0.39,49.72,6.52), (55.22,0.39,55.62,5.51), (62.72,0.39,63.12,5.51), (70.22,0.39,70.62,6.52), (77.72,0.39,78.12,8.54), (85.22,0.39,85.62,9.55), (92.72,0.39,93.12,12.58), (94.77,0.39,95.27,8.61), (1.8,3.43,2.2,15.23), (39.3,3.43,39.7,15.23), (46.8,3.43,47.2,14.23), (54.3,3.43,54.7,15.23), (61.8,3.43,62.2,15.23), (69.3,3.43,69.7,14.23), (76.8,3.43,77.2,15.23), (84.3,3.43,84.7,14.23), (91.8,3.43,92.2,14.23), (11.34,5.63,11.74,14.23), (26.34,5.63,26.74,14.23), (56.34,5.78,56.74,14.23), (63.84,5.78,64.24,15.23), (37.1,6.04,37.5,16.23), (44.54,6.79,44.94,15.23), (52.04,6.79,52.44,16.23), (71.34,6.79,71.74,14.23), (94.77,8.11,95.27,8.61), (78.84,8.81,79.24,15.23), (86.34,9.82,86.74,14.23), (93.84,12.85,94.24,14.23), (8.3,13.77,8.7,21.69), (12.56,13.77,12.96,18.32), (15.8,13.77,16.2,21.09), (23.3,13.77,23.7,21.69), (27.56,13.77,27.96,18.32), (30.8,13.77,31.2,21.09), (45.8,13.77,46.2,21.69), (57.56,13.77,57.96,18.32), (68.3,13.77,68.7,23.69), (72.56,13.77,72.96,18.3), (83.3,13.77,83.7,24.69), (88.36,13.77,88.76,18.29), (90.8,13.77,91.2,27.69), (99.06,13.77,99.46,18.26), (0.8,14.77,1.2,21.09), (38.3,14.77,38.7,21.69), (42.56,14.77,42.96,18.32), (50.06,14.77,50.46,18.32), (53.3,14.77,53.7,21.69), (60.8,14.77,61.2,21.69), (65.06,14.77,65.46,18.32), (75.8,14.77,76.2,23.69), (80.86,14.77,81.26,18.3), (95.03,18.53,95.43,30.88), (85.93,18.56,86.33,30.88), (70.53,18.57,70.93,30.88), (78.43,18.57,78.83,30.88), (0.42,22.505,0.92,23.005), (0.42,22.505,0.92,30.88)])
A(clkshaper, metal5, 2.67, 0.39, 0.5, 0.5, 5, 1, 7.5, 0)
A(clkshaper, metal5, 55.17, 0.39, 0.5, 0.5, 6, 1, 7.5, 0)
A(clkshaper, metal5, 3.79, 13.77, 5.96, 0.46, 4, 1, 7.5, 0)
A(clkshaper, metal5, 2.98, 30.38, 0.5, 0.5, 10, 1, 7.5, 0)
R(clkshaper, metal5, [(-0.45,0.39,100.91,0.89), (49.27,0.39,49.77,0.89), (94.77,0.39,95.27,0.89), (3.81,13.77,4.27,14.23), (5.03,13.77,5.49,14.23), (8.27,13.77,8.73,14.23), (9.27,13.77,9.73,14.23), (11.31,13.77,11.77,14.23), (12.53,13.77,12.99,14.23), (15.77,13.77,16.23,14.23), (16.77,13.77,17.23,14.23), (18.81,13.77,19.27,14.23), (20.03,13.77,20.49,14.23), (23.27,13.77,23.73,14.23), (24.27,13.77,24.73,14.23), (26.31,13.77,26.77,14.23), (27.53,13.77,27.99,14.23), (30.77,13.77,31.23,14.23), (31.77,13.77,32.23,14.23), (33.79,13.77,47.25,14.23), (33.81,13.77,34.27,14.23), (35.03,13.77,35.49,14.23), (45.77,13.77,46.23,14.23), (46.77,13.77,47.23,14.23), (56.29,13.77,69.75,14.23), (56.31,13.77,56.77,14.23), (57.53,13.77,57.99,14.23), (68.27,13.77,68.73,14.23), (69.27,13.77,69.73,14.23), (71.29,13.77,84.75,14.23), (71.31,13.77,71.77,14.23), (72.53,13.77,72.99,14.23), (83.27,13.77,83.73,14.23), (84.27,13.77,84.73,14.23), (86.29,13.77,92.25,14.23), (86.31,13.77,86.77,14.23), (88.33,13.77,88.79,14.23), (90.77,13.77,91.23,14.23), (91.77,13.77,92.23,14.23), (93.79,13.77,99.51,14.23), (93.81,13.77,94.27,14.23), (99.03,13.77,99.49,14.23), (0.75,14.77,39.75,15.23), (0.77,14.77,1.23,15.23), (1.77,14.77,2.23,15.23), (38.27,14.77,38.73,15.23), (39.27,14.77,39.73,15.23), (42.51,14.77,62.25,15.23), (42.53,14.77,42.99,15.23), (44.51,14.77,44.97,15.23), (50.03,14.77,50.49,15.23), (53.27,14.77,53.73,15.23), (54.27,14.77,54.73,15.23), (60.77,14.77,61.23,15.23), (61.77,14.77,62.23,15.23), (63.79,14.77,77.25,15.23), (63.81,14.77,64.27,15.23), (65.03,14.77,65.49,15.23), (75.77,14.77,76.23,15.23), (76.77,14.77,77.23,15.23), (78.79,14.77,81.31,15.23), (78.81,14.77,79.27,15.23), (80.83,14.77,81.29,15.23), (37.05,15.77,52.49,16.23), (37.07,15.77,37.53,16.23), (52.01,15.77,52.47,16.23), (-0.45,30.38,100.91,30.88), (0.42,30.38,0.92,30.88), (78.38,30.38,78.88,30.88), (85.88,30.38,86.38,30.88), (94.98,30.38,95.48,30.88)])
clkshaper.add(gdstk.Label('vdd', (0.67,22.755), layer=34, texttype=10))
clkshaper.add(gdstk.Label('vss', (95.02,8.36), layer=34, texttype=10))
clkshaper.add(gdstk.Label('vss', (0.35,0.64), layer=81, texttype=10))
clkshaper.add(gdstk.Label('vdd', (0.35,30.63), layer=81, texttype=10))
clkshaper.add(gdstk.Label('d1', (4.04,14), layer=81, texttype=10))
clkshaper.add(gdstk.Label('clk640', (1,15), layer=81, texttype=10))
clkshaper.add(gdstk.Label('d2', (11.54,14), layer=81, texttype=10))
clkshaper.add(gdstk.Label('d3', (19.04,14), layer=81, texttype=10))
clkshaper.add(gdstk.Label('d4', (26.54,14), layer=81, texttype=10))
clkshaper.add(gdstk.Label('d5', (34.04,14), layer=81, texttype=10))
clkshaper.add(gdstk.Label('os', (42.76,15), layer=81, texttype=10))
clkshaper.add(gdstk.Label('nx', (37.3,16), layer=81, texttype=10))
clkshaper.add(gdstk.Label('b1', (56.54,14), layer=81, texttype=10))
clkshaper.add(gdstk.Label('k1', (64.04,15), layer=81, texttype=10))
clkshaper.add(gdstk.Label('b2', (71.54,14), layer=81, texttype=10))
clkshaper.add(gdstk.Label('clkc_pre', (79.04,15), layer=81, texttype=10))
clkshaper.add(gdstk.Label('ob', (86.54,14), layer=81, texttype=10))
clkshaper.add(gdstk.Label('ckb', (94.04,14), layer=81, texttype=10))

lib.write_gds('clkshaper.gds')
